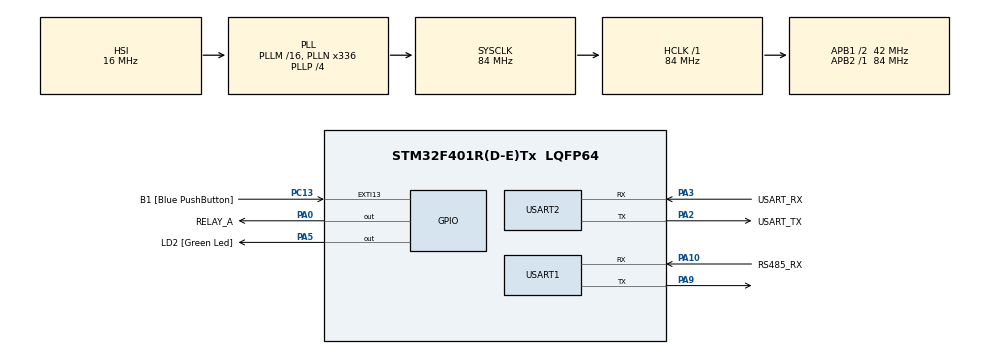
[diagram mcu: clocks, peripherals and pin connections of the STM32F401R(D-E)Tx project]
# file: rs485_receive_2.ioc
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FREERTOS.Tasks01=defaultTask,24,128,StartDefaultTask,Default,NULL,Dynamic,NULL,NULL
Mcu.Family=STM32F4
Mcu.Name=STM32F401R(D-E)Tx
Mcu.Package=LQFP64
NVIC.PriorityGroup=NVIC_PRIORITYGROUP_4
PA0-WKUP.GPIO_Label=RELAY_A
PA0-WKUP.GPIO_Mode=GPIO_MODE_OUTPUT_PP
PA0-WKUP.GPIO_PuPd=GPIO_NOPULL
PA0-WKUP.GPIO_Speed=GPIO_SPEED_FREQ_LOW
PA0-WKUP.Signal=GPIO_Output
PA10.GPIO_Label=RS485_RX
PA10.GPIO_Mode=GPIO_MODE_AF_PP
PA10.GPIO_PuPd=GPIO_NOPULL
PA10.GPIO_Speed=GPIO_SPEED_FREQ_LOW
PA10.Mode=Asynchronous
PA10.Signal=USART1_RX
PA13.GPIO_Label=TMS
PA13.Mode=Trace_Asynchronous_SW
PA13.Signal=SYS_JTMS-SWDIO
PA14.GPIO_Label=TCK
PA14.Mode=Trace_Asynchronous_SW
PA14.Signal=SYS_JTCK-SWCLK
PA2.GPIO_Label=USART_TX
PA2.GPIO_Mode=GPIO_MODE_AF_PP
PA2.GPIO_PuPd=GPIO_NOPULL
PA2.GPIO_Speed=GPIO_SPEED_FREQ_LOW
PA2.Mode=Asynchronous
PA2.Signal=USART2_TX
PA3.GPIO_Label=USART_RX
PA3.GPIO_Mode=GPIO_MODE_AF_PP
PA3.GPIO_PuPd=GPIO_NOPULL
PA3.GPIO_Speed=GPIO_SPEED_FREQ_LOW
PA3.Mode=Asynchronous
PA3.Signal=USART2_RX
PA5.GPIO_Label=LD2 [Green Led]
PA5.GPIO_Mode=GPIO_MODE_OUTPUT_PP
PA5.GPIO_PuPd=GPIO_NOPULL
PA5.GPIO_Speed=GPIO_SPEED_FREQ_LOW
PA5.Signal=GPIO_Output
PA9.Mode=Asynchronous
PA9.Signal=USART1_TX
PB3.GPIO_Label=SWO
PB3.Mode=Trace_Asynchronous_SW
PB3.Signal=SYS_JTDO-SWO
PC13-ANTI_TAMP.GPIO_Label=B1 [Blue PushButton]
PC13-ANTI_TAMP.GPIO_ModeDefaultEXTI=GPIO_MODE_IT_FALLING
PC13-ANTI_TAMP.GPIO_PuPd=GPIO_NOPULL
PC13-ANTI_TAMP.Signal=GPXTI13
PC14-OSC32_IN.Mode=LSE-External-Oscillator
PC14-OSC32_IN.Signal=RCC_OSC32_IN
PC15-OSC32_OUT.Mode=LSE-External-Oscillator
PC15-OSC32_OUT.Signal=RCC_OSC32_OUT
PH0\ -\ OSC_IN.Mode=HSE-External-Clock-Source
PH0\ -\ OSC_IN.Signal=RCC_OSC_IN
PH1\ -\ OSC_OUT.Mode=HSE-External-Clock-Source
PH1\ -\ OSC_OUT.Signal=RCC_OSC_OUT
ProjectManager.HeapSize=0x200
ProjectManager.StackSize=0x400
ProjectManager.TargetToolchain=STM32CubeIDE
RCC.48MHZClocksFreq_Value=48000000
RCC.AHBFreq_Value=84000000
RCC.APB1CLKDivider=RCC_HCLK_DIV2
RCC.APB1Freq_Value=42000000
RCC.APB1TimFreq_Value=84000000
RCC.APB2Freq_Value=84000000
RCC.APB2TimFreq_Value=84000000
RCC.CortexFreq_Value=84000000
RCC.HCLKFreq_Value=84000000
RCC.HSE_VALUE=8000000
RCC.HSI_VALUE=16000000
RCC.PLLN=336
RCC.PLLP=RCC_PLLP_DIV4
RCC.PLLQ=7
RCC.SYSCLKFreq_VALUE=84000000
RCC.SYSCLKSource=RCC_SYSCLKSOURCE_PLLCLK
RCC.VCOOutputFreq_Value=336000000
USART1.VirtualMode=VM_ASYNC
USART2.VirtualMode=VM_ASYNC
VP_FREERTOS_VS_CMSIS_V2.Mode=CMSIS_V2
board=NUCLEO-F401RE

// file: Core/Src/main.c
/* USER CODE BEGIN Header */
/**
  ******************************************************************************
  * @file           : main.c
  * @brief          : Main program body
  ******************************************************************************
  * @attention
  *
  * Copyright (c) 2026 STMicroelectronics.
  * All rights reserved.
  *
  * This software is licensed under terms that can be found in the LICENSE file
  * in the root directory of this software component.
  * If no LICENSE file comes with this software, it is provided AS-IS.
  *
  ******************************************************************************
  */
/* USER CODE END Header */
#include "main.h"
#include "cmsis_os.h"

/* USER CODE BEGIN Includes */
#include <string.h>

#include "neopixel.h"

/* 위험도 등급(veda_risk_level_t)의 유일한 정의. Master(Rs485_send_demo)와 RPi 가 쓰는
 * shared/driver_protocol.h 의 사본이다. 세 곳이 같은 파일을 쓰므로 0/1/2 의 의미가
 * 갈라질 수 없다 -- 규약이 바뀌면 손으로 고치지 말고 원본을 다시 복사할 것. */
#include "driver_protocol.h"

/* USER CODE END Includes */

/* USER CODE BEGIN PD */
/**
 * 이 보드의 RS-485 주소. Slave #1은 1, Slave #2는 2로 바꿔 빌드한다.
 * RS-485는 주소를 자동으로 알려주지 않으므로 보드마다 사람이 정해 심어야 한다.
 *
 *   Slave #1 = CH1, CH2 담당   (경광등 = CH1)
 *   Slave #2 = CH3, CH4 담당   (경광등 = CH3)
 *
 * 어느 채널이 경광등을 울리는지는 아래 channel_output[] 표가 결정한다. 이 값을 바꾸면
 * 그 표도 함께 갈리므로 두 곳을 따로 맞출 필요는 없다.
 * 부팅 시 LD2가 이 번호만큼 깜빡이므로, 구운 뒤 보드만 보고 확인할 수 있다.
 */
#define MY_SLAVE_ID 2U

/**
 * 이 보드가 담당하는 Channel 수. Master의 같은 이름 매크로와 반드시 같아야 한다.
 * 한쪽만 바꾸면 라우팅이 조용히 어긋나 남의 채널을 받거나 자기 채널을 놓친다.
 *
 * 늘리려면 이 값과 아래 channel_output[] 표를 함께 늘리면 된다 -- 나머지 코드는
 * 전부 이 둘에서 파생되므로 손댈 곳이 없다.
 */
#define CHANNELS_PER_SLAVE 2U

/**
 * 이 Slave가 담당하는 첫 Channel 번호. 보드 한 대가 Channel 두 개를 연속으로 맡는다.
 *
 *   Slave #1 -> CH1(RELAY_A/PA0), CH2(RELAY_B/PA1)
 *   Slave #2 -> CH3(RELAY_A/PA0), CH4(RELAY_B/PA1)
 *
 * Master의 send_channel_command()가 같은 규칙으로 슬레이브 주소와 채널 숫자를 따로
 * 계산하므로 양쪽이 이 식으로 맞물린다. 슬레이브 번호와 채널 번호는 같지 않다.
 */
#define MY_FIRST_CHANNEL (((MY_SLAVE_ID - 1U) * CHANNELS_PER_SLAVE) + 1U)
/** 담당 마지막 Channel 번호 (포함) */
#define MY_LAST_CHANNEL (MY_FIRST_CHANNEL + CHANNELS_PER_SLAVE - 1U)
/** RS-485 프레임 한 줄의 최대 길이. "S1:CH1:R2"가 9자다. */
#define RS485_LINE_BUFFER_SIZE 16U
/** 이 시간만큼 수신이 없으면 조립 중이던 프레임을 폐기해 재동기화한다. */
#define RS485_IDLE_RESET_MSEC 50U

/**
 * !! 이 Slave 에는 링크 두절 failsafe 가 **의도적으로 없다**. (fail-loud)
 *
 * Master 가 죽거나 RS-485 선이 끊기면 마지막으로 적용된 상태가 그대로 유지된다.
 * DANGER 였다면 릴레이·부저·줄 조명이 켜진 채로 남고, NONE 이었다면 줄 조명이 초록으로
 * 켜진 채로 남는다. 줄 조명은 WS2812 라 색을 래치하고 이 코드도 값이 바뀔 때만 다시
 * 보내므로, 회선이 조용해져도 화면이 꺼지지 않는다.
 *
 * "일정 시간 뒤 전부 소등"(fail-silent)도 검토했으나 채택하지 않았다. 그쪽을 택하면
 * 진짜 위험이 진행 중인데 선이 끊겼을 때 경보까지 함께 사라진다 -- 경보 장비에서
 * 놓치는 쪽이 더 나쁘다고 보고, 오래된 경보를 붙잡고 있는 쪽을 택했다.
 *
 * 대가를 알고 쓸 것:
 *  - 링크가 끊긴 동안 경광등은 더 이상 '현재' 위험도가 아니라 마지막 명령의 잔상이다.
 *  - 그 사이 경보를 끄려면 보드 전원을 뽑아야 한다.
 *  - 다만 링크가 돌아오면 Master 의 주기 리프레시(SCHED_REFRESH_MSEC = 2초)가 곧바로
 *    참값을 다시 밀어 넣으므로, 복구 후 최대 2초 안에 실제 상태로 맞춰진다.
 *  - Master 자체가 죽은 것은 RPi 가 HEARTBEAT 두절로 감지하므로 상위에서는 알 수 있다.
 *
 * 정책을 바꾸려면 여기 주석과 Master 의 SCHED_REFRESH_MSEC 주석을 함께 고칠 것.
 */

/**
 * USART2(ST-Link VCP, 115200)로 진단 로그를 낸다. 0으로 두면 코드가 남지 않는다.
 *
 * 이 로그가 필요한 이유: 프레임이 버려질 때 이 Slave는 아무 흔적도 남기지 않으므로,
 * "명령이 오지 않았다 / 왔지만 내 것이 아니라 무시했다 / 받아서 GPIO까지 썼다"를
 * 밖에서 구분할 수 없다. 보드마다 MY_SLAVE_ID를 손으로 바꿔 굽는 구조라
 * 어느 보드가 몇 번으로 구워졌는지도 확인할 방법이 없었다.
 */
#define SLAVE_DEBUG_LOG 1

/** 부팅 시 LD2를 MY_SLAVE_ID번 깜빡이는 간격. USB 연결 없이 보드 번호를 눈으로 확인한다. */
#define SLAVE_ID_BLINK_MSEC 250U

/**
 * 부저를 담당 채널과 함께 울릴지 여부. 0으로 두면 부저 핀을 아예 잡지 않는다.
 *
 * 배선 규격상 부저는 채널마다 하나씩 있다(A = PB5/D4, B = PA8/D7). 각 부저는 자기 채널만
 * 보고 운다 -- 옆 채널이 켜져도 조용하다.
 *
 * !! DANGER 에서만 운다. WARNING 에서는 경광등만 켜지고 부저는 조용하다.
 *    등급별 정책은 apply_channel_state() 한 곳에 모여 있다:
 *
 *      NONE    : 줄 조명 초록 / 경광등 OFF / 부저 OFF
 *      WARNING : 줄 조명 노랑 / 경광등 ON  / 부저 OFF
 *      DANGER  : 줄 조명 빨강 / 경광등 ON  / 부저 ON
 */
#define BUZZER_ENABLED 1

/**
 * 부저 모듈의 극성. 울릴 때 핀을 High로 둘지 Low로 둘지. 두 채널이 같은 모듈을 쓴다고 본다.
 *
 * 1 = active-high (핀 High일 때 울림).
 * 0 = active-low  (핀 Low일 때 울림). 능동 부저 모듈 중에 이런 것이 흔하다.
 *
 * 규격서도 "부저 모듈의 Active-High/Active-Low 동작을 실물에서 확인한다"고 못박아 두었다.
 * 잘못 잡으면 부팅하자마자 계속 울리고 명령이 와도 안 그친다. 그 증상이 보이면 배선을
 * 의심하기 전에 이 값부터 뒤집어 볼 것.
 */
#define BUZZER_ACTIVE_HIGH 1

/**
 * NeoPixel(WS2812) 줄 조명을 담당 채널과 함께 켤지 여부. 0으로 두면 핀을 아예 잡지 않는다.
 *
 * 부저와 마찬가지로 채널마다 한 줄씩 있다(A = PA6/D12, B = PA7/D11). 규격의 "NeoPixel은
 * 채널별 상태에 따라 색상 표시" 를 따라 각 줄이 자기 채널의 위험도 색만 낸다.
 *
 * 경광등(릴레이)은 외부 전원을 물리므로 배선이 틀리면 아무 반응이 없는데, 줄 조명은 색까지
 * 보이므로 "명령이 도달했고 적용까지 끝났다"를 가장 빨리 확인하는 수단이 된다.
 *
 * 픽셀 수(NEOPIXEL_PIXEL_COUNT = 9)는 neopixel.h 가 정의한다. 버퍼 크기가 그 값에서
 * 파생되므로 드라이버와 응용이 같은 상수를 봐야 한다.
 */
#define NEOPIXEL_ENABLED 1

/**
 * RS-485 없이 줄 조명 하드웨어만 검증하는 모드. 1로 구우면 두 줄을 함께
 * GREEN -> YELLOW -> RED 로 3초 간격으로 돌린다(HAL_GetTick 기반, 태스크를 막지 않는다).
 *
 * 이 모드에서는 위험도에 따른 줄 조명 갱신(neopixel_service())을 아예 부르지 않는다.
 * 두 경로가 같은 스트립을 동시에 밀면 테스트 색이 실제 위험도를 덮어써서, 색만 보고는
 * 무엇이 맞는지 판별할 수 없게 된다. 경광등/부저와 RS-485 수신은 이 모드에서도 그대로
 * 동작하므로, 릴레이는 명령대로 움직이고 스트립만 순환한다.
 *
 * 배선 확인이 끝나면 반드시 0으로 되돌려 구울 것.
 */
#define NEOPIXEL_SELFTEST_ENABLED 0
/** 테스트 모드에서 한 색을 유지하는 시간 */
#define NEOPIXEL_SELFTEST_STEP_MSEC 3000U

/**
 * 위험도별 색 (RGB 순, 규격서 상태 색상표의 값).
 *
 *   VEDA_RISK_NONE    -> GREEN  (0, 255, 0)
 *   VEDA_RISK_WARNING -> YELLOW (255, 255, 0)
 *   VEDA_RISK_DANGER  -> RED    (255, 0, 0)
 *
 * 회선 규약이 위험 등급 0/1/2 를 그대로 싣게 바뀌어 세 색을 모두 낼 수 있다.
 * 예전에는 ON/OFF만 실려 초록/빨강 둘뿐이었다.
 */
#define NEOPIXEL_NONE_R 0U       /**< 안전(위험 없음): 초록 = R0 G255 B0 */
#define NEOPIXEL_NONE_G 255U
#define NEOPIXEL_NONE_B 0U
/**
 * 경고: 노랑 = 빨강 255 + 초록 130, 파랑 0.
 *
 * 초록을 255 가 아니라 130 으로 낮춘 것은 실물을 보고 맞춘 값이다. 두 채널을 같은 255 로
 * 주면 이 스트립에서는 초록이 더 밝게 떠서 노랑이 연두 쪽으로 치우친다. 비중을 낮춰야
 * 사람 눈에 노랑으로 보인다 -- 규격이 아니라 이 스트립의 채널별 광량 차이 문제라,
 * 스트립을 다른 물건으로 갈면 이 값도 다시 맞춰야 한다.
 *
 * 눈으로 맞추는 값이라 정답이 없다. 연두 쪽으로 보이면 더 낮추고 주황으로 넘어가면 올린다.
 * 255 -> 150 -> 130 으로 두 단계 내린 결과다.
 */
#define NEOPIXEL_WARNING_R 255U
#define NEOPIXEL_WARNING_G 130U
#define NEOPIXEL_WARNING_B 0U
#define NEOPIXEL_DANGER_R 255U   /**< 위험: 빨강 = R255 G0 B0 */
#define NEOPIXEL_DANGER_G 0U
#define NEOPIXEL_DANGER_B 0U

/**
 * 명령을 적용한 뒤 Master로 ACK를 되보낸다. 0으로 두면 예전처럼 수신 전용으로 동작한다.
 *
 * 이게 없으면 Master는 "회선에 바이트를 밀어넣었다"까지만 알고 이 보드가 실제로 GPIO를
 * 썼는지 모른다. 그 상태에서는 이 보드의 전원이 꺼져 있거나 MY_SLAVE_ID가 어긋나 프레임을
 * 통째로 버려도 Master가 RPi에게 "정상 점등 중"이라고 보고한다 -- 어디도 에러를 남기지
 * 않는데 경광등만 안 울리는 상황이 된다. ACK는 그 구간을 메우는 유일한 증거다.
 *
 * 프레임 형식: "A<슬레이브>:CH<채널>:R<위험도>\n"  (예: "A1:CH1:R2\n")
 * Master 명령('S')과 첫 글자로 구분되므로, 버스를 공유하는 다른 Slave가 이 ACK를 명령으로
 * 오해하지 않는다(process_rs485_line()이 line[0] != 'S' 를 형식 오류로 버린다).
 *
 * 적용한 위험도를 그대로 되돌려 보낸다. ON/OFF만 돌려주면 Master는 WARNING을 보냈는데
 * DANGER가 적용된 경우를 잡아낼 수 없다.
 */
#define SLAVE_ACK_ENABLED 1
/** ACK 프레임 조립 버퍼. "A1:CH1:R2\n"이 10자다. */
#define RS485_ACK_BUFFER_SIZE 16U
/** ACK 송신 타임아웃 */
#define RS485_ACK_TX_TIMEOUT_MSEC 50U

/**
 * RS-485 트랜시버의 송신 드라이버(DE/RE)를 GPIO로 제어할지 여부.
 *
 * 0 = 방향 제어 없음. 자동 방향 전환 트랜시버(MAX13487 등)이거나, DE/RE가 고정 배선된
 *     구성이다. 고정 배선(이 보드가 수신 전용)이라면 아래 ACK 송신이 회선에 실리지 못하고
 *     Master의 [stat] ack_ok 가 0에서 올라가지 않는다 -- 그걸로 배선 방식을 판별할 수 있다.
 * 1 = MAX485 등 수동 트랜시버. DE와 RE를 묶어 RS485_DE_Pin 에 연결한 뒤 이 값을 1로 둘 것.
 *
 * PA4를 고른 이유: 이 보드에서 쓰이지 않는 유일한 인접 핀이다(PA0/PA1 릴레이, PA2/PA3
 * USART2, PA5 LD2, PA8 네오픽셀, PA9/PA10 USART1, PA13/PA14 SWD가 이미 점유).
 */
#define RS485_DE_ENABLED 1
#define RS485_DE_Pin GPIO_PIN_4
#define RS485_DE_GPIO_Port GPIOA

#if (RS485_DE_ENABLED != 0) && (SLAVE_ACK_ENABLED == 0)
/* DE 핀을 잡는 곳이 rs485_de_init()뿐이고 그 함수는 ACK 기능 안에 들어 있다. ACK를 끈 채로
 * DE만 켜면 핀이 초기화되지 않은 채 떠 있어 트랜시버가 어느 방향인지 알 수 없게 된다. */
#error "RS485_DE_ENABLED는 SLAVE_ACK_ENABLED가 1일 때만 쓸 수 있다"
#endif
/* USER CODE END PD */

UART_HandleTypeDef huart1;
UART_HandleTypeDef huart2;

/* Definitions for defaultTask */
osThreadId_t defaultTaskHandle;
const osThreadAttr_t defaultTask_attributes = {
  .name = "defaultTask",
  .stack_size = 128 * 4,
  .priority = (osPriority_t) osPriorityNormal,
};
/* USER CODE BEGIN PV */
/** 조립 중인 RS-485 프레임 */
static char rs485_line[RS485_LINE_BUFFER_SIZE];
static volatile uint8_t rs485_line_length;
/** 버퍼를 넘긴 줄은 개행이 올 때까지 통째로 버린다는 표시 */
static volatile uint8_t rs485_line_overflow;
/** USART1 인터럽트 수신용 1바이트 버퍼 */
static uint8_t rs485_rx_byte;
static volatile uint32_t rs485_last_rx_msec;

#if SLAVE_ACK_ENABLED
/**
 * ISR이 적용을 끝낸 명령을 ACK 송신용으로 태스크에 넘기는 자리.
 * RS-485 송신은 블로킹(10바이트 = 약 870us)이라 ISR 안에서 하면 그동안 다음 바이트를
 * 놓쳐 오버런이 난다. debug_line과 같은 방식으로 ISR은 값과 플래그만 세우고
 * 실제 송신은 StartDefaultTask가 맡는다.
 *
 * 앞 ACK를 아직 못 보냈으면 이번 것은 버린다(플래그가 곧 락 역할을 한다). Master는
 * 명령 하나를 보내고 ACK를 기다린 뒤 다음을 보내므로 정상 운용에서는 겹치지 않는다.
 * 부팅 직후 Master가 4채널 OFF를 연속으로 쏠 때만 일부가 버려지는데, 그 구간의 ACK는
 * Master도 확인하지 않는다.
 */
static volatile uint8_t ack_pending;
static volatile uint8_t ack_channel;
static volatile uint8_t ack_risk;   /**< 적용한 veda_risk_level_t. ON/OFF로 압축하지 않는다. */
#endif

#if SLAVE_DEBUG_LOG
/**
 * ISR이 해석을 끝낸 줄과 그 판정을 태스크로 넘기는 자리.
 * USART2 송신은 블로킹이라 ISR 안에서 하면 RS-485 수신이 밀려 오버런이 난다.
 * ISR은 복사와 플래그만 세우고, 출력은 StartDefaultTask가 맡는다.
 */
static char debug_line[RS485_LINE_BUFFER_SIZE + 1U];
static volatile uint8_t debug_verdict;
static volatile uint8_t debug_ready;
#endif
/* USER CODE END PV */

void SystemClock_Config(void);
static void MX_GPIO_Init(void);
static void MX_USART2_UART_Init(void);
static void MX_USART1_UART_Init(void);
void StartDefaultTask(void *argument);

/* USER CODE BEGIN 0 */
/** process_rs485_line()의 판정 코드. 프레임이 어디서 버려졌는지 밖에서 알기 위한 것이다.
 *  SLAVE_DEBUG_LOG가 0이어도 process_rs485_line()의 반환형으로 쓰이므로 항상 정의한다. */
#define VERDICT_APPLIED      0U  /**< 수용해서 GPIO까지 썼다 */
#define VERDICT_BAD_FORMAT   1U  /**< "S<n>:CH<n>:R<n>" 형식이 아니다 */
#define VERDICT_OTHER_SLAVE  2U  /**< 형식은 맞지만 다른 Slave 주소다 */
#define VERDICT_BAD_RISK     3U  /**< 위험도 자리가 0/1/2 가 아니다 */
#define VERDICT_OTHER_CHAN   4U  /**< 내 주소지만 내가 담당하지 않는 Channel이다 */

#if SLAVE_DEBUG_LOG
static const char *const verdict_text[] = {
  "APPLIED (relay+buzzer+strip)",
  "dropped: bad format",
  "dropped: another slave",
  "dropped: bad risk level",
  "dropped: not my channel",
};

/**
 * @brief USART2(ST-Link VCP)로 문자열을 내보낸다. 태스크 문맥에서만 부를 것.
 * @details 블로킹 송신이라 ISR에서 부르면 RS-485 수신 인터럽트가 밀려 오버런이 난다.
 */
static void slave_print(const char *text)
{
  (void)HAL_UART_Transmit(&huart2, (const uint8_t*)text, (uint16_t)strlen(text), 100U);
}

/** @brief 한 자리 숫자를 찍는다. 슬레이브 번호와 채널 번호는 모두 1~9라 이걸로 충분하다. */
static void slave_print_digit(uint8_t value)
{
  const char text[2] = { (char)('0' + (value % 10U)), '\0' };
  slave_print(text);
}
#endif /* SLAVE_DEBUG_LOG */

/**
 * @brief 한 Channel에 딸린 하드웨어 한 벌.
 * @details 배선 규격표의 "채널 구성"을 그대로 옮긴 것이다. 확장 지점은 이 표 하나이고,
 * 나머지 코드는 표를 조회만 하므로 손댈 필요가 없다.
 *
 *   채널 A : PA0 경광등 릴레이 + PB5 부저 + PA6 NeoPixel
 *   채널 B : PA1 경광등 릴레이 + PA8 부저 + PA7 NeoPixel
 *
 * 규격이 "경광등과 부저는 같은 채널에서 동시에 ON/OFF", "NeoPixel은 채널별 상태에 따라
 * 색상 표시" 로 정해져 있어, 세 가지를 한 항목에 묶어 채널 단위로 움직이게 했다.
 *
 * 이 표만 고쳐서 되는 것들:
 *   - 채널 <-> 하드웨어 대응 바꾸기  : 항목의 channel 값만 교체
 *   - 담당 채널 중 일부만 배선하기    : 항목을 빼면 그 채널은 OTHER_CHAN 으로 거절된다
 *   - 보드당 채널 수 늘리기          : CHANNELS_PER_SLAVE 와 함께 항목을 추가
 */
typedef struct
{
  uint8_t channel;            /**< 이 한 벌이 담당하는 Channel 번호 (1-based, 회선 위 표현과 같다) */
  GPIO_TypeDef *relay_port;   /**< 경광등 릴레이 (2N7000 게이트) */
  uint16_t relay_pin;
  GPIO_TypeDef *buzzer_port;  /**< 능동 부저 모듈의 S 단자 */
  uint16_t buzzer_pin;
  neopixel_channel_t strip;   /**< NeoPixel 줄 조명 채널 */
  const char *set_name;       /**< 규격표상의 채널 이름 ("A" / "B") */
  const char *wiring;         /**< 배선을 눈으로 대조하기 위한 핀 이름. 부팅 배너에 그대로 찍힌다 */
} channel_output_t;

/**
 * 보드별 채널 <-> 하드웨어 대응표. 표의 순서에는 의미가 없고, 채널 번호로 찾는다
 * (channel_output_index()).
 *
 * MY_SLAVE_ID 로 갈라 놓은 이유: 보드마다 담당하는 절대 채널 번호가 다르기 때문이다.
 * 하드웨어 핀은 모든 보드가 같다(규격표가 공통 핀맵이라고 못박아 두었다) -- 갈리는 것은
 * 채널 번호뿐이다.
 *
 *   Slave #1 -> CH1 = A 세트, CH2 = B 세트
 *   Slave #2 -> CH3 = A 세트, CH4 = B 세트
 *
 * 각 보드의 표를 절대 채널 번호로 그대로 적어 두었다 -- 어느 보드가 무엇을 울리는지 이
 * 블록만 보면 알 수 있고, 한쪽을 고쳐도 다른 쪽에 영향이 없다.
 *
 * wiring/set_name 문자열은 USART2 로 그대로 나가므로 ASCII 로 적을 것.
 */
#if MY_SLAVE_ID == 1U
static const channel_output_t channel_output[] = {
  { 1U, RELAY_A_GPIO_Port, RELAY_A_Pin, BUZZER_A_GPIO_Port, BUZZER_A_Pin,
    NEOPIXEL_CH_A, "A", "PA0/PB5/PA6" },
  { 2U, RELAY_B_GPIO_Port, RELAY_B_Pin, BUZZER_B_GPIO_Port, BUZZER_B_Pin,
    NEOPIXEL_CH_B, "B", "PA1/PA8/PA7" },
};
#elif MY_SLAVE_ID == 2U
static const channel_output_t channel_output[] = {
  { 3U, RELAY_A_GPIO_Port, RELAY_A_Pin, BUZZER_A_GPIO_Port, BUZZER_A_Pin,
    NEOPIXEL_CH_A, "A", "PA0/PB5/PA6" },
  { 4U, RELAY_B_GPIO_Port, RELAY_B_Pin, BUZZER_B_GPIO_Port, BUZZER_B_Pin,
    NEOPIXEL_CH_B, "B", "PA1/PA8/PA7" },
};
#else
/* 표가 없는 보드 번호로 구우면 이 보드는 어떤 채널에도 반응하지 않는다. 조용히 죽는 대신
 * 빌드를 세운다 -- "명령은 나가는데 아무 일도 안 일어나는" 상황을 막기 위해서다. */
#error "이 MY_SLAVE_ID 에 대한 channel_output[] 표가 없다. 위에 추가할 것"
#endif

#define CHANNEL_OUTPUT_COUNT (sizeof(channel_output) / sizeof(channel_output[0]))

/* 담당 범위보다 많은 채널을 표에 적으면 남의 채널까지 구동하게 된다. 빌드 시점에 막는다.
 * 같지 않아도 되는 이유: 담당 채널 중 일부를 아직 배선하지 않은 구성을 허용하기 위해서다.
 * 표에서 뺀 채널은 OTHER_CHAN 으로 거절되므로 조용히 사라지지 않고 로그에 남는다. */
_Static_assert(CHANNEL_OUTPUT_COUNT <= CHANNELS_PER_SLAVE,
               "channel_output[] 항목 수가 CHANNELS_PER_SLAVE 보다 많다");

/** 표에 없는 채널을 가리키는 값 */
#define CHANNEL_OUTPUT_NONE 0xFFU

/**
 * @brief Channel 번호로 출력 표의 자리를 찾는다.
 * @param channel 1-based Channel 번호
 * @retval CHANNEL_OUTPUT_NONE 이 보드가 구동하지 않는 채널이다
 * @details 항목이 두어 개뿐이라 선형 탐색으로 충분하다. ISR 문맥에서 불리므로 짧게 유지한다.
 */
static uint8_t channel_output_index(uint8_t channel)
{
  uint8_t index;

  for (index = 0U; index < (uint8_t)CHANNEL_OUTPUT_COUNT; ++index)
  {
    if (channel_output[index].channel == channel)
    {
      return index;
    }
  }

  return CHANNEL_OUTPUT_NONE;
}

/**
 * 담당 Channel별 현재 위험도(veda_risk_level_t). 인덱스는 channel_output[]과 같다.
 *
 * ON/OFF 로 압축하지 않고 등급을 그대로 들고 있는다. 경광등과 부저는 지금 두 등급에서
 * 똑같이 동작하지만, 나중에 WARNING 과 DANGER 에 다른 정책(점멸 주기 등)을 주려면
 * 여기 값이 남아 있어야 한다. 줄 조명은 이미 등급별로 색을 달리한다.
 *
 * ISR(process_rs485_line)이 쓰고 태스크(strip_service)가 읽으므로 volatile 이다.
 */
static volatile uint8_t channel_risk[CHANNEL_OUTPUT_COUNT];

#if BUZZER_ENABLED
/* 부저를 울릴 때 / 그칠 때 핀에 실어야 하는 레벨. 극성은 BUZZER_ACTIVE_HIGH 하나로 정한다. */
#if BUZZER_ACTIVE_HIGH
#define BUZZER_LEVEL_ON  GPIO_PIN_SET
#define BUZZER_LEVEL_OFF GPIO_PIN_RESET
#else
#define BUZZER_LEVEL_ON  GPIO_PIN_RESET
#define BUZZER_LEVEL_OFF GPIO_PIN_SET
#endif
#endif /* BUZZER_ENABLED */

/**
 * @brief 표에 적힌 모든 채널의 릴레이/부저 핀을 출력으로 잡고 꺼진 상태로 둔다.
 * @details 표가 곧 배선이므로 초기화도 표를 돌며 한다 -- 채널을 늘리거나 핀을 옮겨도
 * 이 함수는 손댈 필요가 없다.
 *
 * RELAY_A(PA0)는 .ioc 에 있어 MX_GPIO_Init() 도 잡지만, 같은 설정을 다시 넣는 것이라
 * 무해하고 이 표를 유일한 근거로 남겨 둘 수 있다. 나머지 핀은 .ioc 에 없으므로 여기서만
 * 잡힌다 -- CubeMX 로 코드를 다시 생성해도 살아남는다.
 *
 * 핀을 출력으로 잡기 전에 꺼진 레벨을 먼저 실어 둔다. 순서가 바뀌면 초기화 순간에 릴레이가
 * 짧게 붙거나 부저가 짧게 울린다(active-low 모듈에서 특히 눈에 띈다).
 *
 * NeoPixel 은 여기서 잡지 않는다. GPIO 가 아니라 타이머 AF 로 쓰이고 초기화에 HAL_Delay()
 * 가 필요해 태스크 문맥에서 neopixel_init() 이 따로 맡는다.
 */
static void channel_hardware_init(void)
{
  GPIO_InitTypeDef GPIO_InitStruct = {0};
  uint8_t index;

  __HAL_RCC_GPIOA_CLK_ENABLE();
  __HAL_RCC_GPIOB_CLK_ENABLE();

  GPIO_InitStruct.Mode = GPIO_MODE_OUTPUT_PP;
  GPIO_InitStruct.Pull = GPIO_NOPULL;
  GPIO_InitStruct.Speed = GPIO_SPEED_FREQ_LOW;

  for (index = 0U; index < (uint8_t)CHANNEL_OUTPUT_COUNT; ++index)
  {
    /* 릴레이는 2N7000 게이트를 미는 것이라 Low = 경광등 OFF 다.
     * 게이트에 10k 풀다운이 붙어 있어 이 핀이 뜨는 순간에도 릴레이는 붙지 않는다. */
    HAL_GPIO_WritePin(channel_output[index].relay_port, channel_output[index].relay_pin,
                      GPIO_PIN_RESET);
    GPIO_InitStruct.Pin = channel_output[index].relay_pin;
    HAL_GPIO_Init(channel_output[index].relay_port, &GPIO_InitStruct);

#if BUZZER_ENABLED
    HAL_GPIO_WritePin(channel_output[index].buzzer_port, channel_output[index].buzzer_pin,
                      BUZZER_LEVEL_OFF);
    GPIO_InitStruct.Pin = channel_output[index].buzzer_pin;
    HAL_GPIO_Init(channel_output[index].buzzer_port, &GPIO_InitStruct);
#endif
  }
}

#if NEOPIXEL_ENABLED
/**
 * @brief 각 줄 조명을 다시 칠해야 한다고 태스크에 알리는 자리. 인덱스는 channel_output[]과 같다.
 * @details ACK/디버그 로그와 같은 방식이다. neopixel_show_solid()는 전송이 끝날 때까지
 * 기다리는 블로킹 함수라(9픽셀 약 0.9ms) ISR 안에서 부르면 그동안 RS-485 바이트를 놓쳐
 * 오버런이 난다. ISR은 플래그만 세우고 실제 송신은 StartDefaultTask가 맡는다.
 *
 * 색 자체는 여기 담지 않는다. 태스크가 그 시점의 channel_risk[] 를 다시 읽으므로,
 * 밀린 사이에 명령이 여러 번 와도 항상 마지막 상태만 나간다.
 */
static volatile uint8_t strip_update_pending[CHANNEL_OUTPUT_COUNT];

/** 각 줄에 마지막으로 실제 내보낸 위험도. 같은 색을 다시 쏘지 않기 위한 것이다. */
static uint8_t strip_shown_risk[CHANNEL_OUTPUT_COUNT];

/**
 * @brief 표의 한 자리에 해당하는 줄 조명을 지정한 위험도 색으로 칠한다. 태스크 문맥 전용.
 * @param index channel_output[] 인덱스
 * @param risk_level 표시할 veda_risk_level_t
 * @retval HAL_OK 전송 완료
 * @retval HAL_ERROR 드라이버 오류이거나 알 수 없는 위험도다
 * @retval HAL_TIMEOUT DMA 전송이 제한 시간 안에 끝나지 않았다
 * @details 잘못된 등급은 여기까지 오지 않는다(process_rs485_line()이 먼저 거절한다).
 * 그래도 default 를 비워 두어, 혹시 들어와도 아무 색으로도 칠하지 않게 한다 --
 * 모르는 값을 임의로 초록이나 빨강으로 바꿔 표시하면 사람이 상태를 오해한다.
 *
 * 결과를 버리지 않고 돌려주는 이유: 드라이버가 실패해도 화면에는 '색이 안 바뀐다'로만
 * 보여서, 명령이 안 온 것인지 왔는데 못 그린 것인지 구분할 수 없었다.
 */
static HAL_StatusTypeDef strip_show(uint8_t index, uint8_t risk_level)
{
  const neopixel_channel_t strip = channel_output[index].strip;
  HAL_StatusTypeDef status;
  uint8_t red;
  uint8_t green;
  uint8_t blue;

  switch (risk_level)
  {
    case (uint8_t)VEDA_RISK_NONE:
      red = NEOPIXEL_NONE_R;    green = NEOPIXEL_NONE_G;    blue = NEOPIXEL_NONE_B;
      break;

    case (uint8_t)VEDA_RISK_WARNING:
      red = NEOPIXEL_WARNING_R; green = NEOPIXEL_WARNING_G; blue = NEOPIXEL_WARNING_B;
      break;

    case (uint8_t)VEDA_RISK_DANGER:
      red = NEOPIXEL_DANGER_R;  green = NEOPIXEL_DANGER_G;  blue = NEOPIXEL_DANGER_B;
      break;

    default:
      /* 잘못된 위험도 -- 표시하지 않는다. 소등조차 하지 않는다: 여기서 지워 버리면
       * 회선 오류 한 번에 멀쩡히 켜져 있던 경고 표시가 사라진다. */
      return HAL_ERROR;
  }

  /* 목표 색을 곧바로 한 번 쏜다.
   *
   * 예전에는 소등(0,0,0) -> 대기 -> 목표 색 순서로 두 번 쏘았는데, 전환마다 깜빡여서
   * 눈이 아프고 얻는 것이 없어 걷어냈다. 스트립의 래치 요건은 이 대기가 아니라 프레임
   * 자체가 채운다 -- 전송 앞뒤에 각각 300us 리셋 구간이 들어 있어(neopixel.c 의
   * [실제 출력 구간] 참고) 가장 엄한 WS2812B-V5/WS2815 의 280us 요건도 넘는다. */
  status = neopixel_show_solid(strip, NEOPIXEL_PIXEL_COUNT, red, green, blue);

#if SLAVE_DEBUG_LOG
  if (status != HAL_OK)
  {
    /* TIMEOUT 이면 DMA 요청이 끊긴 것(타이머/DMA 배정 문제), ERROR 면 인자나 DMA 오류다. */
    slave_print("!! strip ");
    slave_print(channel_output[index].set_name);
    slave_print((status == HAL_TIMEOUT) ? " DMA timeout\r\n" : " show error\r\n");
  }
#endif

  return status;
}

#if !NEOPIXEL_SELFTEST_ENABLED
/**
 * @brief 예약된 줄 조명 갱신을 실제로 송신한다. 태스크 문맥에서만 부를 것.
 * @details 보낼 것이 없거나 색이 그대로면 아무것도 하지 않는다. 각 줄은 자기 채널의
 * 위험도만 본다 -- 옆 채널이 DANGER 여도 이 줄은 자기 등급 색을 유지한다.
 *
 * 같은 등급이 반복해서 와도 DMA 를 다시 돌리지 않는다. 이 시스템은 상태가 바뀔 때만
 * 명령이 오는 구조(Master가 변화를 그대로 전달)라 주기적 재출력에 기대는 복구 경로가
 * 없고, 스트립은 한 번 받은 색을 전원이 끊길 때까지 유지하기 때문이다.
 * 전원 순단으로 색이 날아가는 것까지 복구하려면 여기가 아니라 주기 재전송을 따로 두어야 한다.
 *
 * 두 줄이 동시에 바뀌면 한 루프에서 두 번 송신한다(각 0.9ms). 블로킹이지만 ACK 처리보다
 * 뒤에 있어 Master 의 왕복 시간에는 영향이 없다.
 */
static void neopixel_service(void)
{
  uint8_t index;

  for (index = 0U; index < (uint8_t)CHANNEL_OUTPUT_COUNT; ++index)
  {
    uint8_t risk;

    if (strip_update_pending[index] == 0U)
    {
      continue;
    }

    /* 값을 읽기 전에 플래그부터 내린다. 순서가 반대면 송신하는 동안 ISR이 새로 적은 상태를
     * 플래그와 함께 지워 버려 마지막 명령이 화면에 반영되지 않는다. */
    strip_update_pending[index] = 0U;
    risk = channel_risk[index];

    if (risk == strip_shown_risk[index])
    {
      continue;
    }

    /* 성공했을 때만 '이 색을 보여 주고 있다'로 기록한다. 실패해도 기록해 버리면 그 색을
     * 다시는 시도하지 않아, 한 번의 DMA 오류가 영구히 틀린 색으로 굳는다. */
    if (strip_show(index, risk) == HAL_OK)
    {
      strip_shown_risk[index] = risk;
    }
  }
}
#endif /* !NEOPIXEL_SELFTEST_ENABLED */
#endif /* NEOPIXEL_ENABLED */

/**
 * @brief Channel 한 벌(경광등 + 부저)에 위험도를 적용하고 줄 조명 갱신을 예약한다.
 * @param channel 이 Slave가 담당하는 Channel 번호 (MY_FIRST_CHANNEL ~ MY_LAST_CHANNEL)
 * @param risk_level 적용할 veda_risk_level_t (VEDA_RISK_NONE / WARNING / DANGER)
 * @details 채널마다 하드웨어 한 벌이 통째로 따로 있으므로 다른 채널은 건드리지 않는다.
 *
 * 등급별 정책이 모여 있는 유일한 자리다. 세 등급이 서로 다른 조합을 낸다:
 *
 *   등급       줄 조명   경광등   부저
 *   --------   -------   ------   ----
 *   NONE       초록      OFF      OFF
 *   WARNING    노랑      ON       OFF
 *   DANGER     빨강      ON       ON
 *
 * 경광등과 부저가 더 이상 함께 움직이지 않는다 -- 부저는 DANGER 에서만 운다. 그래서 둘을
 * 하나의 alarm_on 으로 묶지 않고 따로 계산한다. 묶어 두면 WARNING 에서도 부저가 울어
 * 두 등급을 소리로 구분할 수 없게 된다.
 *
 * risk_level 을 ON/OFF 로 바꿔 저장하지는 않는다 -- channel_risk[] 에 등급을 그대로 남겨야
 * 줄 조명이 초록/노랑/빨강 세 색을 구분할 수 있다.
 *
 * Master(Rs485_send_demo)의 risk_to_status() 가 RPi 에게 보고하는 buzzer_on 도 같은 규칙을
 * 따라야 한다. 한쪽만 고치면 관제 서버가 실물과 다른 부저 상태를 보게 된다.
 *
 * LD2만 예외로 보드 단위다 -- 담당 채널 중 하나라도 위험하면 켠다. 온보드 LED라
 * 채널에 대응시킬 수 없고, "이 보드에서 지금 뭔가 울리는 중"을 한눈에 보는 용도다.
 */
static void apply_channel_state(uint8_t channel, uint8_t risk_level)
{
  /* 경광등은 WARNING 과 DANGER 에서 켜진다. */
  const uint8_t light_on = (uint8_t)((risk_level != (uint8_t)VEDA_RISK_NONE) ? 1U : 0U);
  /* 부저는 DANGER 에서만 운다. */
  const uint8_t buzzer_on = (uint8_t)((risk_level == (uint8_t)VEDA_RISK_DANGER) ? 1U : 0U);
  const uint8_t index = channel_output_index(channel);
  uint8_t scan;
  uint8_t any_on = 0U;

  if (index == CHANNEL_OUTPUT_NONE)
  {
    return;   /* 호출자가 이미 걸러내지만, 이 함수만 봐도 안전하도록 한 번 더 막는다 */
  }

  HAL_GPIO_WritePin(channel_output[index].relay_port, channel_output[index].relay_pin,
                    (light_on != 0U) ? GPIO_PIN_SET : GPIO_PIN_RESET);
  channel_risk[index] = risk_level;

#if BUZZER_ENABLED
  /* 부저는 자기 채널만 본다. 옆 채널이 켜져 있어도 이 부저는 조용하다. */
  HAL_GPIO_WritePin(channel_output[index].buzzer_port, channel_output[index].buzzer_pin,
                    (buzzer_on != 0U) ? BUZZER_LEVEL_ON : BUZZER_LEVEL_OFF);
#endif

#if NEOPIXEL_ENABLED
  /* 줄 조명도 채널별이다. 여기서는 '다시 칠해야 한다'만 예약한다. 어떤 색인지는 태스크가
   * channel_risk[] 를 다시 읽어 정한다 -- 실제 송신은 블로킹이라 ISR에서 못 한다. */
  strip_update_pending[index] = 1U;
#endif

  for (scan = 0U; scan < (uint8_t)CHANNEL_OUTPUT_COUNT; ++scan)
  {
    if (channel_risk[scan] != (uint8_t)VEDA_RISK_NONE)
    {
      any_on = 1U;
    }
  }
  HAL_GPIO_WritePin(LD2_GPIO_Port, LD2_Pin, (any_on != 0U) ? GPIO_PIN_SET : GPIO_PIN_RESET);
}

/**
 * @brief Master가 보낸 "S<슬레이브>:CH<채널>:R<위험도>" 프레임 한 줄을 해석한다.
 * @param line 개행을 제외한 프레임 본문 (NUL로 끝나지 않음)
 * @param length line의 길이
 * @details RS-485는 버스를 공유하므로 다른 Slave에게 가는 프레임도 그대로 들어온다.
 * 프레임 앞의 슬레이브 번호가 MY_SLAVE_ID와 다르면 버린다.
 * 형식이 어긋난 줄도 아무 동작 없이 버린다.
 *
 * 위험도 자리는 '0'(NONE) / '1'(WARNING) / '2'(DANGER) 세 글자만 받아들인다. '3', "10",
 * 255 같은 값은 규약에 없는 값이므로 VERDICT_BAD_RISK 로 거절한다 -- 임의로 NONE 이나
 * DANGER 로 바꿔 적용하지 않는다. 잘못된 프레임에 경광등을 끄거나 켜는 쪽으로 반응하면,
 * 회선 오류가 그대로 오동작이 된다. 거절하면 앞 상태가 유지되고 Master는 ACK를 받지
 * 못해 재전송 경로를 탄다(형식 오류를 다루는 방식과 같다).
 *
 * 길이 검사가 값 범위 검사를 겸한다. "R10" 처럼 두 자리를 실으면 길이가 10이 되어
 * 아래 length != 9U 에 걸린다.
 * @retval VERDICT_* 어디서 버렸는지(또는 수용했는지). SLAVE_DEBUG_LOG용 진단 값이다.
 */
static uint8_t process_rs485_line(const char *line, uint8_t length)
{
  uint8_t channel;
  uint8_t risk_level;

  /* 고정 위치 검사: "S1:CH1:R0" (항상 9자) */
  if (length != 9U || line[0] != 'S' || line[2] != ':' ||
      line[3] != 'C' || line[4] != 'H' || line[6] != ':' || line[7] != 'R')
  {
    return VERDICT_BAD_FORMAT;
  }
  if (line[1] < '1' || line[1] > '9' || line[5] < '1' || line[5] > '9')
  {
    return VERDICT_BAD_FORMAT;
  }

  /* 내 주소가 아니면 다른 Slave의 명령이다. */
  if ((uint8_t)(line[1] - '0') != MY_SLAVE_ID)
  {
    return VERDICT_OTHER_SLAVE;
  }

  /* 규약에 있는 등급은 0/1/2 뿐이다. */
  if (line[8] < '0' || line[8] > '2')
  {
    return VERDICT_BAD_RISK;
  }
  risk_level = (uint8_t)(line[8] - '0');

  /* 출력 표에 없는 채널은 이 보드가 구동하지 않는다. 담당 범위 밖이거나, 범위 안이어도
   * 배선하지 않아 표에서 뺀 채널이 여기 걸린다. 판단 근거는 표 하나뿐이다. */
  channel = (uint8_t)(line[5] - '0');
  if (channel_output_index(channel) == CHANNEL_OUTPUT_NONE)
  {
    return VERDICT_OTHER_CHAN;
  }

  apply_channel_state(channel, risk_level);

#if SLAVE_ACK_ENABLED
  /* GPIO를 실제로 쓴 경우에만 ACK를 예약한다. 버려진 프레임에 ACK를 보내면 Master가
   * 적용되지 않은 명령을 적용된 것으로 기록하게 되어, 이 기능의 목적이 통째로 사라진다. */
  if (ack_pending == 0U)
  {
    ack_channel = channel;
    ack_risk = risk_level;
    ack_pending = 1U;
  }
#endif

  return VERDICT_APPLIED;
}

/**
 * @brief 수신한 한 바이트를 프레임으로 조립하고, 개행을 만나면 해석한다.
 * @details GPIO 제어는 매우 빠르므로 ISR 문맥에서 바로 처리해 반응 지연을 없앤다.
 */
static void process_rs485_byte(uint8_t byte)
{
  if (byte == '\r' || byte == '\n')
  {
    if (rs485_line_overflow == 0U && rs485_line_length != 0U)
    {
      const uint8_t verdict = process_rs485_line(rs485_line, rs485_line_length);
      (void)verdict;
#if SLAVE_DEBUG_LOG
      /* 태스크가 아직 앞 줄을 출력하지 못했으면 이번 줄은 로그만 건너뛴다.
       * GPIO 처리는 위에서 이미 끝났으므로 동작에는 영향이 없다. */
      if (debug_ready == 0U)
      {
        (void)memcpy(debug_line, rs485_line, rs485_line_length);
        debug_line[rs485_line_length] = '\0';
        debug_verdict = verdict;
        debug_ready = 1U;
      }
#endif
    }
    rs485_line_length = 0U;
    rs485_line_overflow = 0U;
    return;
  }

  if (rs485_line_length >= RS485_LINE_BUFFER_SIZE)
  {
    /* 버퍼를 넘긴 줄은 개행까지 통째로 버려 다음 프레임과 섞이지 않게 한다. */
    rs485_line_overflow = 1U;
    return;
  }

  rs485_line[rs485_line_length] = (char)byte;
  ++rs485_line_length;
}

/**
 * @brief USART1 수신 완료 인터럽트. 한 바이트를 처리하고 즉시 재무장한다.
 */
void HAL_UART_RxCpltCallback(UART_HandleTypeDef *huart)
{
  if (huart->Instance == USART1)
  {
    process_rs485_byte(rs485_rx_byte);
    rs485_last_rx_msec = HAL_GetTick();
    (void)HAL_UART_Receive_IT(huart, &rs485_rx_byte, 1U);
  }
}

/**
 * @brief USART1 오류(오버런/프레이밍 등) 처리. 조립 중이던 프레임을 버리고 재무장한다.
 * @details 재무장하지 않으면 오류 한 번으로 수신이 영구히 멈춘다.
 */
void HAL_UART_ErrorCallback(UART_HandleTypeDef *huart)
{
  if (huart->Instance == USART1)
  {
    rs485_line_length = 0U;
    rs485_line_overflow = 0U;
    (void)HAL_UART_Receive_IT(huart, &rs485_rx_byte, 1U);
  }
}

/* USER CODE END 0 */

int main(void)
{

  /* MCU Configuration--------------------------------------------------------*/

  /* Reset of all peripherals, Initializes the Flash interface and the Systick. */
  HAL_Init();

  /* Configure the system clock */
  SystemClock_Config();

  /* Initialize all configured peripherals */
  MX_GPIO_Init();
  MX_USART2_UART_Init();
  MX_USART1_UART_Init();
  /* USER CODE BEGIN 2 */
  /* 담당 채널의 릴레이와 부저를 전부 꺼진 상태로 잡는다. 표를 돌며 초기화하므로
   * 채널을 늘리거나 핀을 옮겨도 이 호출은 그대로다. 스케줄러가 뜨기 전에 끝내야
   * 부팅 중에 경광등이 붙거나 부저가 울리지 않는다. */
  channel_hardware_init();
  /* 줄 조명(NeoPixel)은 여기서 잡지 않는다. neopixel_init()이 HAL_Delay()를 쓰고
   * 첫 송신도 곧바로 이어져야 해서, 태스크 문맥인 StartDefaultTask에서 초기화한다. */
  /* USER CODE END 2 */

  /* Init scheduler */
  osKernelInitialize();

  /* Create the thread(s) */
  /* creation of defaultTask */
  defaultTaskHandle = osThreadNew(StartDefaultTask, NULL, &defaultTask_attributes);

  /* Start scheduler */
  osKernelStart();

  /* We should never get here as control is now taken by the scheduler */

  /* Infinite loop */
  while (1)
  {

  }
}

void SystemClock_Config(void)
{
  RCC_OscInitTypeDef RCC_OscInitStruct = {0};
  RCC_ClkInitTypeDef RCC_ClkInitStruct = {0};

  /** Configure the main internal regulator output voltage
  */
  __HAL_RCC_PWR_CLK_ENABLE();
  __HAL_PWR_VOLTAGESCALING_CONFIG(PWR_REGULATOR_VOLTAGE_SCALE2);

  /** Initializes the RCC Oscillators according to the specified parameters
  * in the RCC_OscInitTypeDef structure.
  */
  RCC_OscInitStruct.OscillatorType = RCC_OSCILLATORTYPE_HSI;
  RCC_OscInitStruct.HSIState = RCC_HSI_ON;
  RCC_OscInitStruct.HSICalibrationValue = RCC_HSICALIBRATION_DEFAULT;
  RCC_OscInitStruct.PLL.PLLState = RCC_PLL_ON;
  RCC_OscInitStruct.PLL.PLLSource = RCC_PLLSOURCE_HSI;
  RCC_OscInitStruct.PLL.PLLM = 16;
  RCC_OscInitStruct.PLL.PLLN = 336;
  RCC_OscInitStruct.PLL.PLLP = RCC_PLLP_DIV4;
  RCC_OscInitStruct.PLL.PLLQ = 7;
  if (HAL_RCC_OscConfig(&RCC_OscInitStruct) != HAL_OK)
  {
    Error_Handler();
  }

  /** Initializes the CPU, AHB and APB buses clocks
  */
  RCC_ClkInitStruct.ClockType = RCC_CLOCKTYPE_HCLK|RCC_CLOCKTYPE_SYSCLK
                              |RCC_CLOCKTYPE_PCLK1|RCC_CLOCKTYPE_PCLK2;
  RCC_ClkInitStruct.SYSCLKSource = RCC_SYSCLKSOURCE_PLLCLK;
  RCC_ClkInitStruct.AHBCLKDivider = RCC_SYSCLK_DIV1;
  RCC_ClkInitStruct.APB1CLKDivider = RCC_HCLK_DIV2;
  RCC_ClkInitStruct.APB2CLKDivider = RCC_HCLK_DIV1;

  if (HAL_RCC_ClockConfig(&RCC_ClkInitStruct, FLASH_LATENCY_2) != HAL_OK)
  {
    Error_Handler();
  }
}

static void MX_USART1_UART_Init(void)
{

  huart1.Instance = USART1;
  huart1.Init.BaudRate = 115200;
  huart1.Init.WordLength = UART_WORDLENGTH_8B;
  huart1.Init.StopBits = UART_STOPBITS_1;
  huart1.Init.Parity = UART_PARITY_NONE;
  huart1.Init.Mode = UART_MODE_TX_RX;
  huart1.Init.HwFlowCtl = UART_HWCONTROL_NONE;
  huart1.Init.OverSampling = UART_OVERSAMPLING_16;
  if (HAL_UART_Init(&huart1) != HAL_OK)
  {
    Error_Handler();
  }

}

static void MX_USART2_UART_Init(void)
{

  huart2.Instance = USART2;
  huart2.Init.BaudRate = 115200;
  huart2.Init.WordLength = UART_WORDLENGTH_8B;
  huart2.Init.StopBits = UART_STOPBITS_1;
  huart2.Init.Parity = UART_PARITY_NONE;
  huart2.Init.Mode = UART_MODE_TX_RX;
  huart2.Init.HwFlowCtl = UART_HWCONTROL_NONE;
  huart2.Init.OverSampling = UART_OVERSAMPLING_16;
  if (HAL_UART_Init(&huart2) != HAL_OK)
  {
    Error_Handler();
  }

}

static void MX_GPIO_Init(void)
{
  GPIO_InitTypeDef GPIO_InitStruct = {0};

  /* GPIO Ports Clock Enable */
  __HAL_RCC_GPIOC_CLK_ENABLE();
  __HAL_RCC_GPIOH_CLK_ENABLE();
  __HAL_RCC_GPIOA_CLK_ENABLE();
  __HAL_RCC_GPIOB_CLK_ENABLE();

  /*Configure GPIO pin Output Level */
  HAL_GPIO_WritePin(GPIOA, RELAY_A_Pin|LD2_Pin, GPIO_PIN_RESET);

  /*Configure GPIO pin : B1_Pin */
  GPIO_InitStruct.Pin = B1_Pin;
  GPIO_InitStruct.Mode = GPIO_MODE_IT_FALLING;
  GPIO_InitStruct.Pull = GPIO_NOPULL;
  HAL_GPIO_Init(B1_GPIO_Port, &GPIO_InitStruct);

  /*Configure GPIO pins : RELAY_A_Pin LD2_Pin */
  GPIO_InitStruct.Pin = RELAY_A_Pin|LD2_Pin;
  GPIO_InitStruct.Mode = GPIO_MODE_OUTPUT_PP;
  GPIO_InitStruct.Pull = GPIO_NOPULL;
  GPIO_InitStruct.Speed = GPIO_SPEED_FREQ_LOW;
  HAL_GPIO_Init(GPIOA, &GPIO_InitStruct);

}

/* USER CODE BEGIN 4 */
#if SLAVE_ACK_ENABLED
/**
 * @brief RS-485 트랜시버의 송신 드라이버를 켤 수 있게 DE 핀을 출력으로 잡는다.
 * @details RS485_DE_ENABLED가 0이면 아무것도 하지 않는다(자동 방향 전환 트랜시버).
 * 기본 상태는 수신(DE=Low)이다 -- 버스를 놓아두어야 Master의 명령을 받을 수 있다.
 */
static void rs485_de_init(void)
{
#if RS485_DE_ENABLED
  GPIO_InitTypeDef GPIO_InitStruct = {0};

  __HAL_RCC_GPIOA_CLK_ENABLE();

  HAL_GPIO_WritePin(RS485_DE_GPIO_Port, RS485_DE_Pin, GPIO_PIN_RESET);

  GPIO_InitStruct.Pin = RS485_DE_Pin;
  GPIO_InitStruct.Mode = GPIO_MODE_OUTPUT_PP;
  GPIO_InitStruct.Pull = GPIO_NOPULL;
  GPIO_InitStruct.Speed = GPIO_SPEED_FREQ_VERY_HIGH;
  HAL_GPIO_Init(RS485_DE_GPIO_Port, &GPIO_InitStruct);
#endif
}

/**
 * @brief 적용한 명령을 그대로 되읽어 Master로 ACK를 보낸다.
 * @param channel 적용한 Channel 번호 (1-based, 회선 위 표현과 같다)
 * @param risk_level 적용한 veda_risk_level_t (0/1/2)
 * @details 태스크 문맥에서만 부를 것 -- 블로킹 송신이다.
 *
 * 적용한 등급을 그대로 돌려준다. ON/OFF로 줄여 보내면 Master가 WARNING과 DANGER의
 * 어긋남을 확인할 수 없다.
 *
 * DE 제어가 켜져 있으면 송신 전후로 드라이버를 열고 닫는다. HAL_UART_Transmit()은
 * 마지막 바이트의 TC(전송 완료) 플래그까지 기다린 뒤 반환하므로, 반환 직후 DE를 내려도
 * 마지막 비트가 잘리지 않는다.
 */
static void rs485_send_ack(uint8_t channel, uint8_t risk_level)
{
  char frame[RS485_ACK_BUFFER_SIZE];
  uint8_t length = 0U;

  frame[length++] = 'A';
  frame[length++] = (char)('0' + MY_SLAVE_ID);
  frame[length++] = ':';
  frame[length++] = 'C';
  frame[length++] = 'H';
  frame[length++] = (char)('0' + channel);
  frame[length++] = ':';
  frame[length++] = 'R';
  frame[length++] = (char)('0' + (risk_level % 10U));
  frame[length++] = '\n';

#if RS485_DE_ENABLED
  HAL_GPIO_WritePin(RS485_DE_GPIO_Port, RS485_DE_Pin, GPIO_PIN_SET);
#endif

  (void)HAL_UART_Transmit(&huart1, (const uint8_t*)frame, length, RS485_ACK_TX_TIMEOUT_MSEC);

#if RS485_DE_ENABLED
  HAL_GPIO_WritePin(RS485_DE_GPIO_Port, RS485_DE_Pin, GPIO_PIN_RESET);
#endif
}
#endif /* SLAVE_ACK_ENABLED */
/* USER CODE END 4 */

void StartDefaultTask(void *argument)
{
  /* USER CODE BEGIN 5 */
#if (NEOPIXEL_ENABLED && NEOPIXEL_SELFTEST_ENABLED)
  /* 다음에 낼 색과 마지막으로 색을 바꾼 시각. HAL_Delay(3000) 대신 시각만 재서
   * 태스크의 다른 일이 3초씩 멈추지 않게 한다. */
  uint8_t selftest_risk = (uint8_t)VEDA_RISK_NONE;
  uint32_t selftest_last_msec = HAL_GetTick();
#endif

  /* 이 보드가 몇 번으로 구워졌는지 부팅 때 스스로 밝힌다. LD2를 MY_SLAVE_ID번 깜빡이므로
   * USB를 연결하지 않아도 보드만 보고 번호를 셀 수 있다. 릴레이(PA0)는 건드리지 않는다. */
  for (uint8_t blink = 0U; blink < MY_SLAVE_ID; ++blink)
  {
    HAL_GPIO_WritePin(LD2_GPIO_Port, LD2_Pin, GPIO_PIN_SET);
    osDelay(SLAVE_ID_BLINK_MSEC);
    HAL_GPIO_WritePin(LD2_GPIO_Port, LD2_Pin, GPIO_PIN_RESET);
    osDelay(SLAVE_ID_BLINK_MSEC);
  }

#if SLAVE_DEBUG_LOG
  /* 담당 채널과 그 출력 핀을 표에서 그대로 뽑아 찍는다. 채널 수를 늘려도 이 배너는
   * 손댈 필요가 없고, 배선이 어긋났을 때 보드가 스스로 뭘 담당하는지 밝혀 준다. */
  slave_print("\r\nSLAVE #");
  slave_print_digit(MY_SLAVE_ID);
  slave_print(" READY - owns ");
  for (uint8_t index = 0U; index < (uint8_t)CHANNEL_OUTPUT_COUNT; ++index)
  {
    if (index != 0U)
    {
      slave_print(", ");
    }
    slave_print("CH");
    slave_print_digit(channel_output[index].channel);
    slave_print("=");
    slave_print(channel_output[index].set_name);
    slave_print("(");
    slave_print(channel_output[index].wiring);
    slave_print(")");

    /* 표의 채널이 이 보드의 담당 범위를 벗어나면 다른 보드에게 갈 명령에도 반응하게 된다.
     * 조용히 두면 "경광등 두 개가 같이 울린다" 로만 드러나 원인 찾기가 어려우므로,
     * 부팅 배너에서 바로 밝힌다. */
    if ((channel_output[index].channel < MY_FIRST_CHANNEL) ||
        (channel_output[index].channel > MY_LAST_CHANNEL))
    {
      slave_print("!!OUT-OF-RANGE");
    }
  }
#if BUZZER_ENABLED
  /* 극성까지 찍는다. 부팅하자마자 계속 울리면 배선이 아니라 이 설정이 뒤집힌 것이다. */
  slave_print(", buzzer=");
  slave_print(BUZZER_ACTIVE_HIGH ? "active-high" : "active-low");
#endif
#if NEOPIXEL_ENABLED
  /* 줄 조명이 몇 개짜리로 구워졌는지 밝힌다. 줄 끝이 어두우면 이 숫자부터 의심할 것.
   * 채널 수만큼(A = PA6, B = PA7) 같은 길이로 구워진다. */
  slave_print(", strip x");
  slave_print_digit((uint8_t)((NEOPIXEL_PIXEL_COUNT / 10U) % 10U));
  slave_print_digit((uint8_t)(NEOPIXEL_PIXEL_COUNT % 10U));
  slave_print("/ch");
#if NEOPIXEL_SELFTEST_ENABLED
  /* 이 모드로 구워 두고 잊으면 "명령을 보내는데 색이 멋대로 바뀐다"가 된다. 배너에서 밝힌다. */
  slave_print(" !!SELFTEST");
#endif
#endif
  slave_print("\r\n");
#endif

#if NEOPIXEL_ENABLED
  /* 담당 채널의 줄 조명을 전부 위험 없음(초록)으로 켜 두고 시작한다. 명령이 오기 전에도
   * 색이 들어오므로, 이것만 보고 "보드가 살아 있고 스트립 배선도 맞다"를 알 수 있다.
   * 수신을 열기 전에 끝낸다. 첫 프레임 처리와 송신이 겹치지 않게 하기 위해서다. */
  for (uint8_t index = 0U; index < (uint8_t)CHANNEL_OUTPUT_COUNT; ++index)
  {
    if (neopixel_init(channel_output[index].strip) != HAL_OK)
    {
      /* 지금 실패할 수 있는 원인은 타이머 클럭이 84MHz 가 아닌 것뿐이다(드라이버가 비트 폭을
       * 틱 수로 고정하고 있어 확인 후 거절한다). 조용히 넘기면 "줄 조명만 안 켜진다"로
       * 보여 배선부터 뒤지게 되므로 배너에 남긴다. */
#if SLAVE_DEBUG_LOG
      slave_print("!! neopixel_init FAILED on ch ");
      slave_print(channel_output[index].set_name);
      slave_print(" - timer clock is not 84MHz\r\n");
#endif
      continue;
    }

    if (strip_show(index, (uint8_t)VEDA_RISK_NONE) == HAL_OK)
    {
      strip_shown_risk[index] = (uint8_t)VEDA_RISK_NONE;
    }
  }
#endif

#if SLAVE_ACK_ENABLED
  /* 수신 상태(DE=Low)로 만들어 두고 시작한다. 수신을 열기 전에 불러야 첫 명령을 놓치지 않는다. */
  rs485_de_init();
#endif

  /* 인터럽트 수신 시작. 이후 재무장은 각 콜백이 담당한다. */
  (void)HAL_UART_Receive_IT(&huart1, &rs485_rx_byte, 1U);

  /* Infinite loop */
  for(;;)
  {
#if SLAVE_ACK_ENABLED
    /* ISR이 적용을 끝낸 명령에 대해 Master로 ACK를 되보낸다. 디버그 출력보다 먼저 처리해
     * 왕복 지연을 줄인다 -- Master는 이 응답을 타임아웃 안에 받아야 적용을 확인할 수 있다. */
    if (ack_pending != 0U)
    {
      const uint8_t channel = ack_channel;
      const uint8_t risk_level = ack_risk;

      rs485_send_ack(channel, risk_level);
      ack_pending = 0U;
    }
#endif

#if SLAVE_DEBUG_LOG
    /* ISR이 넘긴 수신 줄과 판정을 출력한다. 프레임이 아예 안 오는 것인지,
     * 와서 버려지는 것인지, 받아서 GPIO까지 쓴 것인지가 이 한 줄로 갈린다. */
    if (debug_ready != 0U)
    {
      slave_print("RX \"");
      slave_print(debug_line);
      slave_print("\" -> ");
      slave_print(verdict_text[debug_verdict]);
      slave_print("\r\n");
      debug_ready = 0U;
    }
#endif

#if NEOPIXEL_ENABLED
#if NEOPIXEL_SELFTEST_ENABLED
    /* 하드웨어 검증 모드: GREEN -> YELLOW -> RED 를 3초씩 돌린다. HAL_GetTick 으로 시각만
     * 재므로 이 루프의 다른 일(ACK/로그/재동기화)은 그대로 돈다.
     *
     * neopixel_service() 는 이 모드에서 아예 부르지 않는다 -- 두 경로가 같은 스트립을
     * 밀면 테스트 색이 실제 위험도를 덮어써서 색을 믿을 수 없게 된다. */
    if ((HAL_GetTick() - selftest_last_msec) >= NEOPIXEL_SELFTEST_STEP_MSEC)
    {
      selftest_last_msec = HAL_GetTick();

      /* 두 줄을 같은 색으로 함께 돌린다. 한 줄만 색이 바뀌면 그 줄의 배선/타이머 쪽만
       * 문제라는 뜻이라, 나란히 놓고 보면 어느 채널이 죽었는지 바로 갈린다. */
      for (uint8_t index = 0U; index < (uint8_t)CHANNEL_OUTPUT_COUNT; ++index)
      {
        (void)strip_show(index, selftest_risk);   /* 실패는 strip_show 가 로그로 남긴다 */
      }

      selftest_risk = (uint8_t)((selftest_risk >= (uint8_t)VEDA_RISK_DANGER)
                                  ? (uint8_t)VEDA_RISK_NONE
                                  : (uint8_t)(selftest_risk + 1U));
    }
#else
    /* ISR이 예약한 색을 실제로 줄 조명에 내보낸다. ACK보다 뒤에 두었다 -- 송신이 끝날
     * 때까지 기다리는 함수라, 먼저 하면 Master가 기다리는 ACK가 그만큼 늦어진다. */
    neopixel_service();
#endif
#endif

    /* 프레임이 끊긴 채 남아 있으면 폐기해 다음 프레임과 섞이지 않게 한다. */
    if ((rs485_line_length != 0U || rs485_line_overflow != 0U) &&
        (HAL_GetTick() - rs485_last_rx_msec) >= RS485_IDLE_RESET_MSEC)
    {
      rs485_line_length = 0U;
      rs485_line_overflow = 0U;
    }

    /* 링크가 끊겨도 출력을 건드리지 않는다 -- 마지막 상태를 그대로 유지한다(fail-loud).
     * 위 RS485_IDLE_RESET_MSEC 주석의 정책 설명 참고. */

    osDelay(10);
  }
  /* USER CODE END 5 */
}

void Error_Handler(void)
{
  __disable_irq();
  while (1)
  {
  }
}
